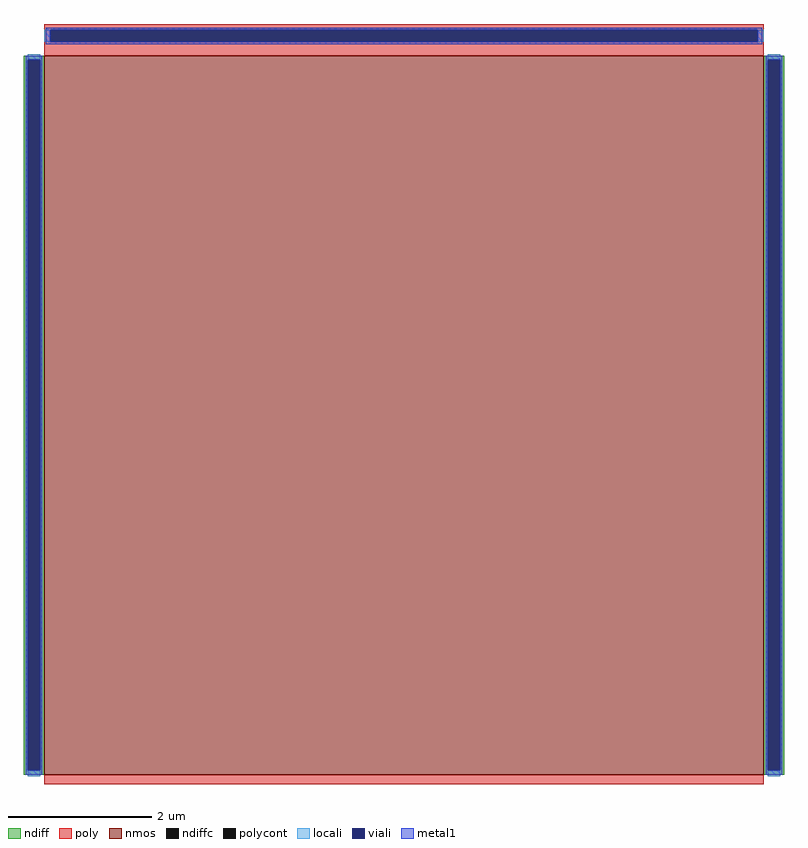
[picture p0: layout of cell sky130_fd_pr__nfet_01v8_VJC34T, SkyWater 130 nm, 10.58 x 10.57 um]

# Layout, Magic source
magic
tech sky130A
magscale 1 2
<< nmos >>
rect -1000 -1031 1000 969
<< ndiff >>
rect -1058 957 -1000 969
rect -1058 -1019 -1046 957
rect -1012 -1019 -1000 957
rect -1058 -1031 -1000 -1019
rect 1000 957 1058 969
rect 1000 -1019 1012 957
rect 1046 -1019 1058 957
rect 1000 -1031 1058 -1019
<< ndiffc >>
rect -1046 -1019 -1012 957
rect 1012 -1019 1046 957
<< poly >>
rect -1000 1041 1000 1057
rect -1000 1007 -984 1041
rect 984 1007 1000 1041
rect -1000 969 1000 1007
rect -1000 -1057 1000 -1031
<< polycont >>
rect -984 1007 984 1041
<< locali >>
rect -1000 1007 -984 1041
rect 984 1007 1000 1041
rect -1046 957 -1012 973
rect -1046 -1035 -1012 -1019
rect 1012 957 1046 973
rect 1012 -1035 1046 -1019
<< viali >>
rect -984 1007 984 1041
rect -1046 -1019 -1012 957
rect 1012 -1019 1046 957
<< metal1 >>
rect -996 1041 996 1047
rect -996 1007 -984 1041
rect 984 1007 996 1041
rect -996 1001 996 1007
rect -1052 957 -1006 969
rect -1052 -1019 -1046 957
rect -1012 -1019 -1006 957
rect -1052 -1031 -1006 -1019
rect 1006 957 1052 969
rect 1006 -1019 1012 957
rect 1046 -1019 1052 957
rect 1006 -1031 1052 -1019
<< properties >>
string gencell sky130_fd_pr__nfet_01v8
string library sky130
string parameters w 10.0 l 10.0 m 1 nf 1 diffcov 100 polycov 100 guard 0 glc 1 grc 1 gtc 1 gbc 1 tbcov 100 rlcov 100 topc 1 botc 0 poverlap 0 doverlap 1 lmin 0.15 wmin 0.42 compatible {sky130_fd_pr__nfet_01v8 sky130_fd_pr__nfet_01v8_lvt  sky130_fd_bs_flash__special_sonosfet_star  sky130_fd_pr__nfet_g5v0d10v5 sky130_fd_pr__nfet_05v0_nvt  sky130_fd_pr__nfet_03v3_nvt} full_metal 1 viasrc 100 viadrn 100 viagate 100 viagb 0 viagr 0 viagl 0 viagt 0
<< end >>
